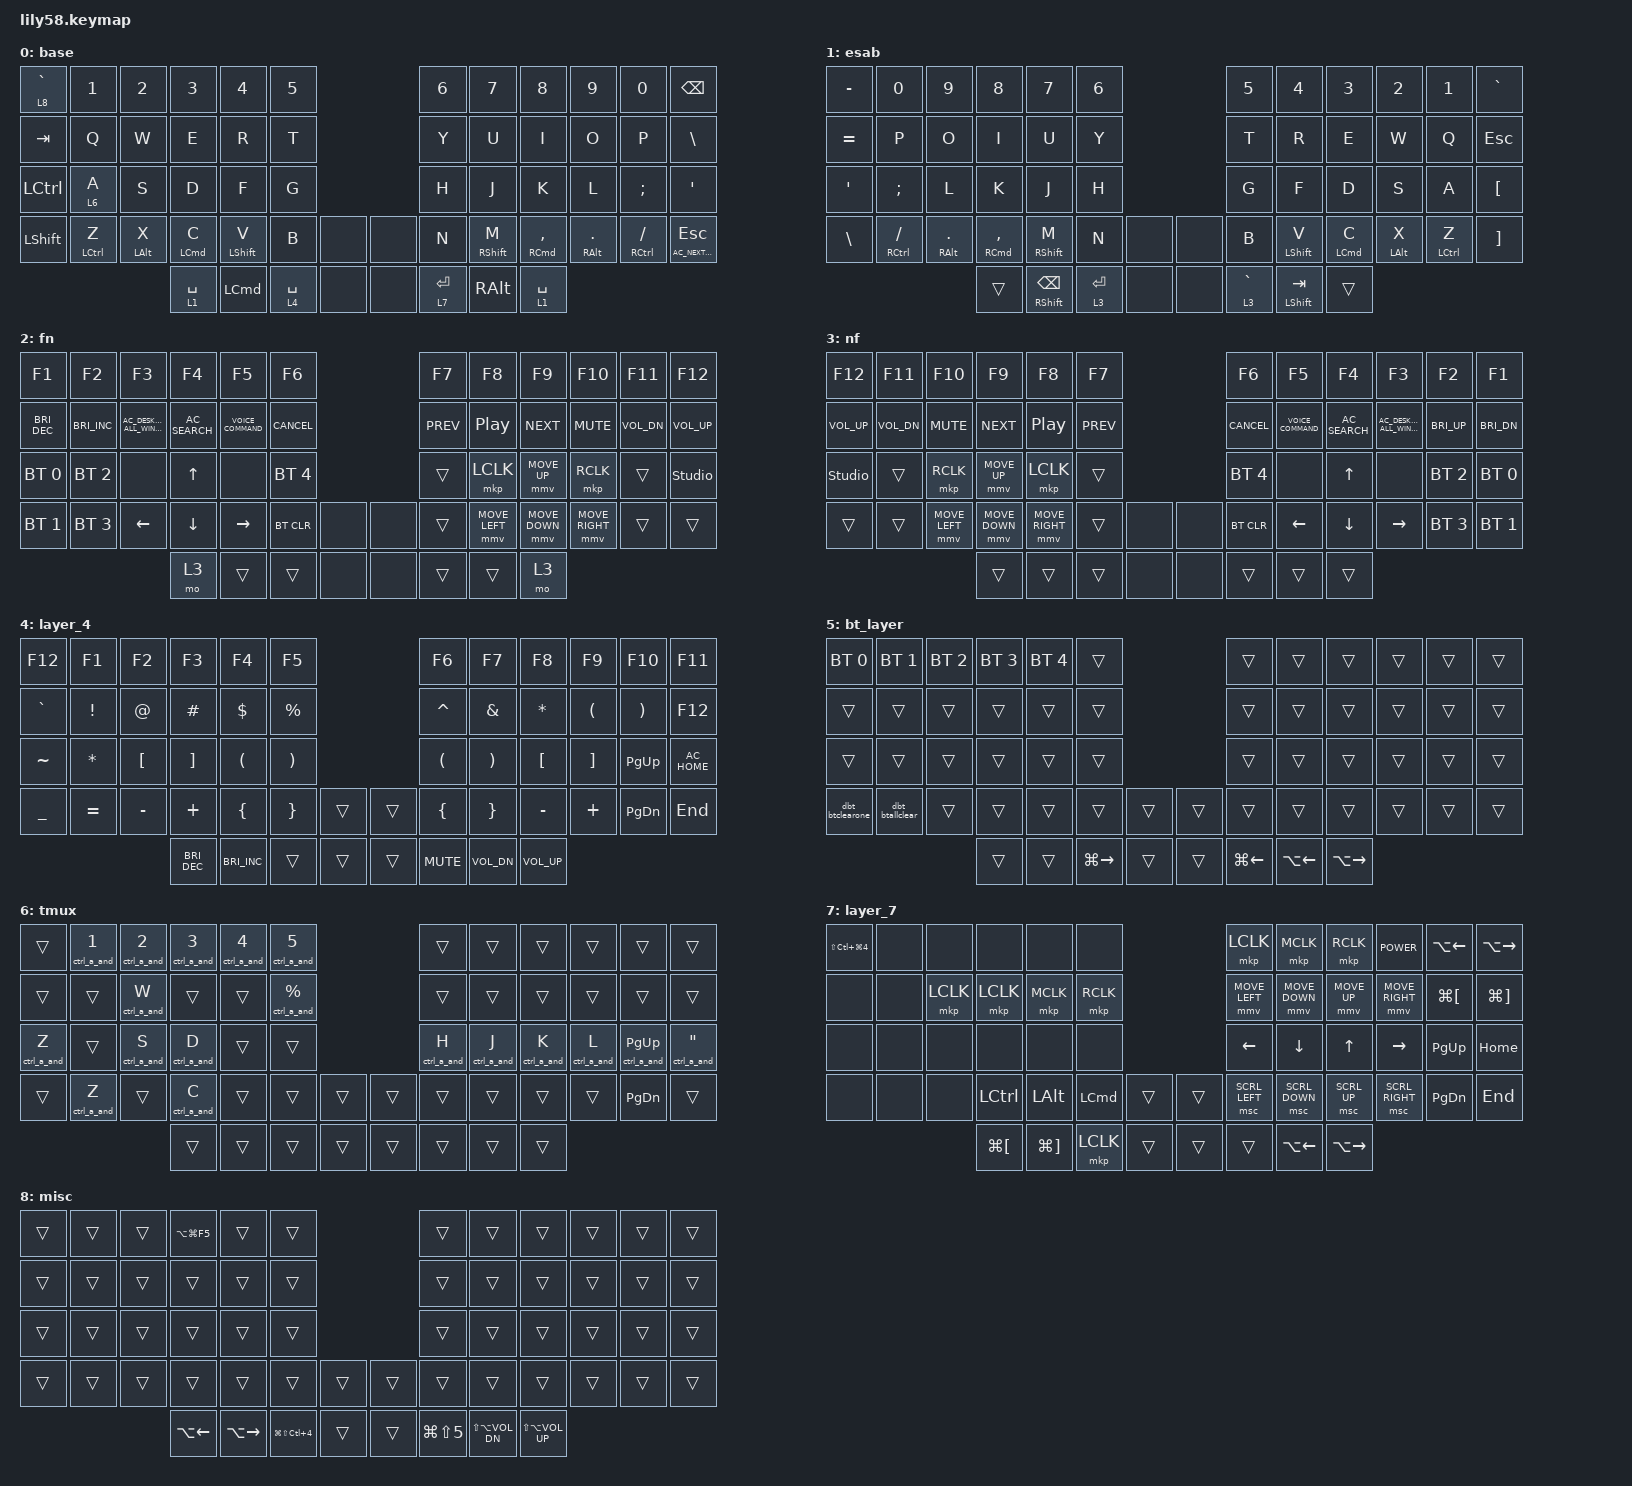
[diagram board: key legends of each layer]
#define ZMK_POINTING_DEFAULT_MOVE_VAL 1200  // default: 600
#define ZMK_POINTING_DEFAULT_SCRL_VAL 15    // default: 10

#include <behaviors.dtsi>
#include <dt-bindings/zmk/bt.h>
#include <dt-bindings/zmk/keys.h>
#include <dt-bindings/zmk/pointing.h>

&mmv {
    time-to-max-speed-ms = <200>;
    acceleration-exponent = <1>;
};

&msc {
    time-to-max-speed-ms = <200>;   // default: 300
    acceleration-exponent = <1>;    // default: 0 (constant)
};

/ {
    behaviors {
        #include "macros.dtsi"

        hm: homerow_mods {
            compatible = "zmk,behavior-hold-tap";
            label = "HOMEROW_MODS";
            #binding-cells = <2>;
            tapping-term-ms = <200>;
            quick_tap_ms = <175>;
            flavor = "tap-preferred";
            bindings = <&kp>, <&kp>;
        };

        hml: home_mod_left {
            compatible = "zmk,behavior-hold-tap";
            label = "HOME_MOD_LEFT";
            #binding-cells = <2>;
            flavor = "balanced";
            tapping-term-ms = <200>;
            quick-tap-ms = <175>;
            require-prior-idle-ms = <150>;
            bindings = <&kp>, <&kp>;

            // Triggers on Left Side Keys

            hold-trigger-key-positions = <
                // 0 1 2 3 4 5  // 1st row left
                6 7 8 9 10 11  // 1st row right
                // 12 13 14 15 16 17  // 2nd row left
                18 19 20 21 22 23  // 2nd row right
                // 24 25 26 27 28 29  // 3rd row left
                30 31 32 33 34 35  // 3rd row right
                // 36 37 38 39 40 41 42  // 4th row left
                37 38 39 40  // 4th row left mod
                43 44 45 46 47 48 49  // 4th row right
                50 51 52 53  // thumb cluster left
                54 55 56 57  // thumb cluster right
            >;
        };

        hmr: home_mod_right {
            compatible = "zmk,behavior-hold-tap";
            label = "HOME_MOD_RIGHT";
            #binding-cells = <2>;
            flavor = "balanced";
            tapping-term-ms = <200>;
            quick-tap-ms = <175>;
            require-prior-idle-ms = <150>;
            bindings = <&kp>, <&kp>;

            // Triggers on Right Side Keys

            hold-trigger-key-positions = <
                0 1 2 3 4 5  // 1st row left
                // 6 7 8 9 10 11  // 1st row right
                12 13 14 15 16 17  // 2nd row left
                // 18 19 20 21 22 23  // 2nd row right
                24 25 26 27 28 29  // 3rd row left
                // 30 31 32 33 34 35  // 3rd row right
                36 37 38 39 40 41 42  // 4th row left
                // 43 44 45 46 47 48 49  // 4th row right
                45 46 47 48  // 4th row right mod
                50 51 52 53  // thumb cluster left
                54 55 56 57  // thumb cluster right
            >;
        };

        mmr: mirror_mod_right {
            compatible = "zmk,behavior-hold-tap";
            label = "MIRROR_MOD_RIGHT";
            #binding-cells = <2>;
            flavor = "tap-preferred";
            tapping-term-ms = <200>;
            quick-tap-ms = <175>;
            bindings = <&kp>, <&kp>;

            // Triggers on Right Side Keys

            hold-trigger-key-positions = <
                // 0 1 2 3 4 5  // 1st row left
                6 7 8 9 10 11  // 1st row right
                // 12 13 14 15 16 17  // 2nd row left
                18 19 20 21 22 23  // 2nd row right
                // 24 25 26 27 28 29  // 3rd row left
                30 31 32 33 34 35  // 3rd row right
                // 36 37 38 39 40 41 42  // 4th row left
                43 44 45 46 47 48 49  // 4th row right
                // 50 51 52 53  // thumb cluster left
                54 55 56 57  // thumb cluster right
            >;
        };

        mml: mirror_mod_left {
            compatible = "zmk,behavior-hold-tap";
            label = "MIRROR_MOD_LEFT";
            #binding-cells = <2>;
            flavor = "tap-preferred";
            tapping-term-ms = <200>;
            quick-tap-ms = <175>;
            bindings = <&kp>, <&kp>;

            // Triggers on Left Side Keys

            hold-trigger-key-positions = <
                0 1 2 3 4 5  // 1st row left
                // 6 7 8 9 10 11  // 1st row right
                12 13 14 15 16 17  // 2nd row left
                // 18 19 20 21 22 23  // 2nd row right
                24 25 26 27 28 29  // 3rd row left
                // 30 31 32 33 34 35  // 3rd row right
                36 37 38 39 40 41 42  // 4th row left
                // 43 44 45 46 47 48 49  // 4th row right
                50 51 52 53  // thumb cluster left
                // 54 55 56 57  // thumb cluster right
            >;
        };

        mlr: mirror_layer_right {
            compatible = "zmk,behavior-hold-tap";
            label = "MIRROR_LAYER_RIGHT";
            #binding-cells = <2>;
            flavor = "tap-preferred";
            tapping-term-ms = <200>;
            quick-tap-ms = <175>;
            bindings = <&mo>, <&kp>;

            // Triggers on Right Side Keys

            hold-trigger-key-positions = <
                // 0 1 2 3 4 5  // 1st row left
                6 7 8 9 10 11  // 1st row right
                // 12 13 14 15 16 17  // 2nd row left
                18 19 20 21 22 23  // 2nd row right
                // 24 25 26 27 28 29  // 3rd row left
                30 31 32 33 34 35  // 3rd row right
                // 36 37 38 39 40 41 42  // 4th row left
                43 44 45 46 47 48 49  // 4th row right
                // 50 51 52 53  // thumb cluster left
                54 55 56 57  // thumb cluster right
            >;
        };

        mll: mirror_layer_left {
            compatible = "zmk,behavior-hold-tap";
            label = "MIRROR_LAYER_LEFT";
            #binding-cells = <2>;
            flavor = "tap-preferred";
            tapping-term-ms = <200>;
            quick-tap-ms = <175>;
            bindings = <&mo>, <&kp>;

            // Triggers on Left Side Keys

            hold-trigger-key-positions = <
                0 1 2 3 4 5  // 1st row left
                // 6 7 8 9 10 11  // 1st row right
                12 13 14 15 16 17  // 2nd row left
                // 18 19 20 21 22 23  // 2nd row right
                24 25 26 27 28 29  // 3rd row left
                // 30 31 32 33 34 35  // 3rd row right
                36 37 38 39 40 41 42  // 4th row left
                // 43 44 45 46 47 48 49  // 4th row right
                50 51 52 53  // thumb cluster left
                // 54 55 56 57  // thumb cluster right
            >;
        };

        dbt_btallclear: dbt_btallclear {
            compatible = "zmk,behavior-tap-dance";
            label = "DBT_BTALLCLEAR";
            #binding-cells = <0>;
            bindings = <&none>, <&bt BT_CLR_ALL>;
        };

        dbt_btclearone: dbt_btclearone {
            compatible = "zmk,behavior-tap-dance";
            label = "DBT_BTCLEARONE";
            #binding-cells = <0>;
            bindings = <&none>, <&bt BT_CLR>;
        };
    };

    combos {
        compatible = "zmk,combos";

        btlayer {
            bindings = <&mo 5>;
            key-positions = <55 56 57>;
        };

        macronavigate {
            bindings = <&mo 5>;
            key-positions = <10 11>;
        };
    };

    macros {
        ctrl_a_and: ctrl_a_and {
            compatible = "zmk,behavior-macro-one-param";
            #binding-cells = <1>;
            bindings =
                <&macro_press>,
                <&kp LCTRL>,
                <&macro_tap>,
                <&kp A>,
                <&macro_release>,
                <&kp LCTRL &macro_param_1to1>,
                <&macro_tap>,
                <&kp MACRO_PLACEHOLDER>;

            label = "CTRL_A_AND";
        };
    };

    keymap {
        compatible = "zmk,keymap";

        default_layer {
            display-name = "base";
            bindings = <
&lt 8 GRAVE     &kp N1        &kp N2       &kp N3        &kp N4            &kp N5                        &kp N6        &kp N7         &kp N8           &kp N9         &kp N0           &kp BACKSPACE
&kp TAB         &kp Q         &kp W        &kp E         &kp R             &kp T                         &kp Y         &kp U          &kp I            &kp O          &kp P            &kp BACKSLASH
&kp LCTRL       &lt 6 A       &kp S        &kp D         &kp F             &kp G                         &kp H         &kp J          &kp K            &kp L          &kp SEMI         &kp SQT
&kp LEFT_SHIFT  &hml LCTRL Z  &hml LALT X  &hml LCMD C   &hml LSHFT V      &kp B         &none    &none  &kp N         &hmr RSHFT M   &hmr RCMD COMMA  &hmr RALT DOT  &hmr RCTRL FSLH  &mt C_AC_NEXT_KEYBOARD_LAYOUT_SELECT ESC
                                           &mll 1 SPACE  &kp LEFT_COMMAND  &mll 4 SPACE  &none    &none  &mlr 7 ENTER  &kp RIGHT_ALT  &mlr 1 SPACE
            >;
        };

        layer_esab {
            display-name = "esab";
            bindings = <
&kp MINUS         &kp N0            &kp N9         &kp N8           &kp N7                      &kp N6                        &kp N5        &kp N4               &kp N3       &kp N2       &kp N1        &kp GRAVE
&kp EQUAL         &kp P             &kp O          &kp I            &kp U                       &kp Y                         &kp T         &kp R                &kp E        &kp W        &kp Q         &kp ESCAPE
&kp SINGLE_QUOTE  &kp SEMICOLON     &kp L          &kp K            &kp J                       &kp H                         &kp G         &kp F                &kp D        &kp S        &kp A         &kp LEFT_BRACKET
&kp BACKSLASH     &hml RCTRL SLASH  &hml RALT DOT  &hml RCMD COMMA  &hml RSHFT M                &kp N         &none    &none  &kp B         &hmr LSHFT V         &hmr LCMD C  &hmr LALT X  &hmr LCTRL Z  &kp RIGHT_BRACKET
                                                   &trans           &mml RIGHT_SHIFT BACKSPACE  &mll 3 ENTER  &none    &none  &mlr 3 GRAVE  &mmr LEFT_SHIFT TAB  &trans
            >;
        };

        layer_fn {
            display-name = "fn";
            bindings = <
&kp F1                &kp F2                &kp F3                             &kp F4           &kp F5               &kp F6                        &kp F7      &kp F8            &kp F9          &kp F10          &kp F11       &kp F12
&kp C_BRIGHTNESS_DEC  &kp C_BRIGHTNESS_INC  &kp C_AC_DESKTOP_SHOW_ALL_WINDOWS  &kp C_AC_SEARCH  &kp C_VOICE_COMMAND  &kp K_CANCEL                  &kp C_PREV  &kp C_PLAY_PAUSE  &kp C_NEXT      &kp C_MUTE       &kp C_VOL_DN  &kp C_VOL_UP
&bt BT_SEL 0          &bt BT_SEL 2          &none                              &kp UP           &none                &bt BT_SEL 4                  &trans      &mkp LCLK         &mmv MOVE_UP    &mkp RCLK        &trans        &studio_unlock
&bt BT_SEL 1          &bt BT_SEL 3          &kp LEFT                           &kp DOWN         &kp RIGHT            &bt BT_CLR    &none    &none  &trans      &mmv MOVE_LEFT    &mmv MOVE_DOWN  &mmv MOVE_RIGHT  &trans        &trans
                                                                               &mo 3            &trans               &trans        &none    &none  &trans      &trans            &mo 3
            >;
        };

        layer_nf {
            display-name = "nf";
            bindings = <
&kp F12         &kp F11       &kp F10         &kp F9          &kp F8           &kp F7                      &kp F6        &kp F5               &kp F4           &kp F3                             &kp F2        &kp F1
&kp C_VOL_UP    &kp C_VOL_DN  &kp C_MUTE      &kp C_NEXT      &kp C_PP         &kp C_PREV                  &kp K_CANCEL  &kp C_VOICE_COMMAND  &kp C_AC_SEARCH  &kp C_AC_DESKTOP_SHOW_ALL_WINDOWS  &kp C_BRI_UP  &kp C_BRI_DN
&studio_unlock  &trans        &mkp RCLK       &mmv MOVE_UP    &mkp LCLK        &trans                      &bt BT_SEL 4  &none                &kp UP           &none                              &bt BT_SEL 2  &bt BT_SEL 0
&trans          &trans        &mmv MOVE_LEFT  &mmv MOVE_DOWN  &mmv MOVE_RIGHT  &trans      &none    &none  &bt BT_CLR    &kp LEFT             &kp DOWN         &kp RIGHT                          &bt BT_SEL 3  &bt BT_SEL 1
                                              &trans          &trans           &trans      &none    &none  &trans        &trans               &trans
            >;
        };

        layer_4 {
            bindings = <
&kp F12    &kp F1     &kp F2            &kp F3                &kp F4                &kp F5                                   &kp F6                &kp F7                 &kp F8            &kp F9                &kp F10                &kp F11
&kp GRAVE  &kp EXCL   &kp AT            &kp POUND             &kp DOLLAR            &kp PERCENT                              &kp CARET             &kp AMPS               &kp ASTRK         &kp LEFT_PARENTHESIS  &kp RIGHT_PARENTHESIS  &kp F12
&kp TILDE  &kp ASTRK  &kp LEFT_BRACKET  &kp RIGHT_BRACKET     &kp LEFT_PARENTHESIS  &kp RIGHT_PARENTHESIS                    &kp LEFT_PARENTHESIS  &kp RIGHT_PARENTHESIS  &kp LEFT_BRACKET  &kp RIGHT_BRACKET     &kp PAGE_UP            &kp C_AC_HOME
&kp UNDER  &kp EQUAL  &kp MINUS         &kp PLUS              &kp LEFT_BRACE        &kp RIGHT_BRACE        &trans    &trans  &kp LEFT_BRACE        &kp RIGHT_BRACE        &kp MINUS         &kp PLUS              &kp PAGE_DOWN          &kp END
                                        &kp C_BRIGHTNESS_DEC  &kp C_BRIGHTNESS_INC  &trans                 &trans    &trans  &kp K_MUTE            &kp C_VOL_DN           &kp C_VOLUME_UP
            >;
        };

        bt_layer {
            bindings = <
&bt BT_SEL 0     &bt BT_SEL 1     &bt BT_SEL 2  &bt BT_SEL 3  &bt BT_SEL 4  &trans                           &trans        &trans        &trans         &trans  &trans  &trans
&trans           &trans           &trans        &trans        &trans        &trans                           &trans        &trans        &trans         &trans  &trans  &trans
&trans           &trans           &trans        &trans        &trans        &trans                           &trans        &trans        &trans         &trans  &trans  &trans
&dbt_btclearone  &dbt_btallclear  &trans        &trans        &trans        &trans         &trans    &trans  &trans        &trans        &trans         &trans  &trans  &trans
                                                &trans        &trans        &kp LG(RIGHT)  &trans    &trans  &kp LG(LEFT)  &kp LA(LEFT)  &kp LA(RIGHT)
            >;
        };

        tmux {
            bindings = <
&trans         &ctrl_a_and NUMBER_1  &ctrl_a_and NUMBER_2  &ctrl_a_and NUMBER_3  &ctrl_a_and NUMBER_4  &ctrl_a_and NUMBER_5                    &trans         &trans         &trans         &trans         &trans               &trans
&trans         &trans                &ctrl_a_and W         &trans                &trans                &ctrl_a_and PERCENT                     &trans         &trans         &trans         &trans         &trans               &trans
&ctrl_a_and Z  &trans                &ctrl_a_and S         &ctrl_a_and D         &trans                &trans                                  &ctrl_a_and H  &ctrl_a_and J  &ctrl_a_and K  &ctrl_a_and L  &ctrl_a_and PAGE_UP  &ctrl_a_and DOUBLE_QUOTES
&trans         &ctrl_a_and Z         &trans                &ctrl_a_and C         &trans                &trans                &trans    &trans  &trans         &trans         &trans         &trans         &kp PAGE_DOWN        &trans
                                                           &trans                &trans                &trans                &trans    &trans  &trans         &trans         &trans
            >;
        };

        layer_7 {
            bindings = <
&kp LS(LC(LG(NUMBER_4)))  &none  &none      &none                 &none                  &none                               &mkp LCLK       &mkp MCLK       &mkp RCLK      &kp K_POWER      &kp LA(LEFT)          &kp LA(RIGHT)
&none                     &none  &mkp LCLK  &mkp LCLK             &mkp MCLK              &mkp RCLK                           &mmv MOVE_LEFT  &mmv MOVE_DOWN  &mmv MOVE_UP   &mmv MOVE_RIGHT  &kp LG(LEFT_BRACKET)  &kp LG(RIGHT_BRACKET)
&none                     &none  &none      &none                 &none                  &none                               &kp LEFT        &kp DOWN        &kp UP_ARROW   &kp RIGHT        &kp PAGE_UP           &kp HOME
&none                     &none  &none      &kp LEFT_CONTROL      &kp LEFT_ALT           &kp LEFT_COMMAND  &trans    &trans  &msc SCRL_LEFT  &msc SCRL_DOWN  &msc SCRL_UP   &msc SCRL_RIGHT  &kp PAGE_DOWN         &kp END
                                            &kp LG(LEFT_BRACKET)  &kp LG(RIGHT_BRACKET)  &mkp LCLK         &trans    &trans  &trans          &kp LA(LEFT)    &kp LA(RIGHT)
            >;
        };

        misc {
            bindings = <
&trans  &trans  &trans  &kp LA(LG(F5))  &trans         &trans                                      &trans                &trans                &trans                &trans  &trans  &trans
&trans  &trans  &trans  &trans          &trans         &trans                                      &trans                &trans                &trans                &trans  &trans  &trans
&trans  &trans  &trans  &trans          &trans         &trans                                      &trans                &trans                &trans                &trans  &trans  &trans
&trans  &trans  &trans  &trans          &trans         &trans                    &trans    &trans  &trans                &trans                &trans                &trans  &trans  &trans
                        &kp LA(LEFT)    &kp LA(RIGHT)  &kp LG(LS(LC(NUMBER_4)))  &trans    &trans  &kp LG(LS(NUMBER_5))  &kp LS(LA(C_VOL_DN))  &kp LS(LA(C_VOL_UP))
            >;
        };
    };
};
